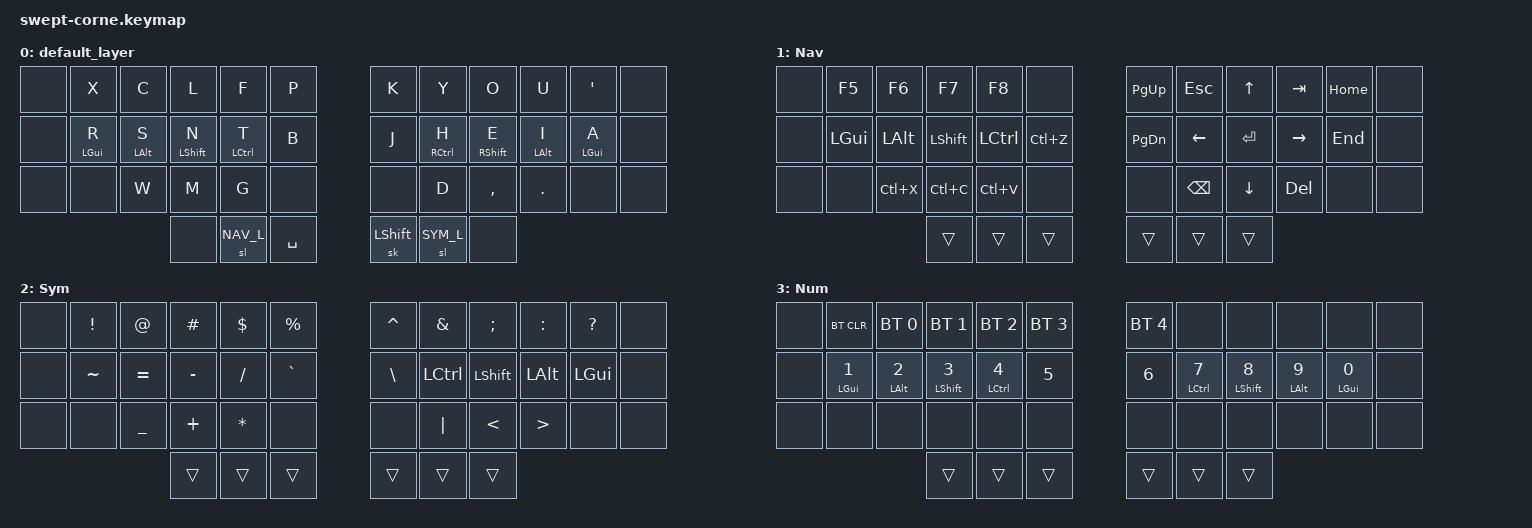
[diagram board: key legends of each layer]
/*
 * Copyright (c) 2020 The ZMK Contributors
 *
 * SPDX-License-Identifier: MIT
 */

#include <behaviors.dtsi>
#include <dt-bindings/zmk/keys.h>
#include <dt-bindings/zmk/bt.h>

/* Layers */
#define DEF_L 0
#define NAV_L 1
#define SYM_L 2
#define NUM_L 3

/* Shortcuts */
#define CUT LC(X)
#define COPY LC(C)
#define PASTE LC(V)
#define UNDO LC(Z)
#define SALL LC(A)

/* Key position groups */
#define KEYS_L 0 1 2 3 4 5 12 13 14 15 16 17 24 25 26 27 28 29
#define KEYS_R 6 7 8 9 10 11 18 19 20 21 22 23 30 31 32 33 34 35
#define THUMBS 36 37 38 39 40 41

/* Behavior Settings */
&sk {
  release-after-ms = <250>;
  quick-release;
};

&sl {
  release-after-ms = <250>;
};

/ {
    behaviors {
        mtl: mod_tap_left {
            compatible = "zmk,behavior-hold-tap";
            label = "MOD_TAP_LEFT";
            #binding-cells = <2>;
            flavor = "balanced";
            tapping-term-ms = <280>;
            quick-tap-ms = <175>;
            bindings = <&kp>, <&kp>;
            hold-trigger-key-positions = <KEYS_R THUMBS>;
	    hold-trigger-on-release;
        };
        mtr: mod_tap_right {
            compatible = "zmk,behavior-hold-tap";
            label = "MOD_TAP_RIGHT";
            #binding-cells = <2>;
            flavor = "balanced";
            tapping-term-ms = <280>;
            quick-tap-ms = <175>;
            bindings = <&kp>, <&kp>;
            hold-trigger-key-positions = <KEYS_L THUMBS>;
	    hold-trigger-on-release;
        };
    };
    conditional_layers {
        compatible = "zmk,conditional-layers";
        tri_layer {
            if-layers = <NAV_L SYM_L>;
            then-layer = <NUM_L>;
        };
    };
    combos {
        compatible = "zmk,combos";

	/*
	   0   1   2   3   4   5      6   7   8   9  10  11
	  12  13  14  15  16  17     18  19  20  21  22  23
	  24  25  26  27  28  29     30  31  32  33  34  35
		      36  37  38     39  40  41
	*/

        /* Letters */
        v { key-positions = <2 3>; bindings = <&kp V>; layers = <DEF_L>; };
        q { key-positions = <3 4>; bindings = <&kp Q>; layers = <DEF_L>; };
        z { key-positions = <26 27>; bindings = <&kp Z>; layers = <DEF_L>; };

        /* Brackets */
        lbkt { key-positions = <2 14>; bindings = <&kp LBKT>; layers = <DEF_L SYM_L NUM_L>; };
        rbkt { key-positions = <9 21>; bindings = <&kp RBKT>; layers = <DEF_L SYM_L NUM_L>; };
        lbrc { key-positions = <3 15>; bindings = <&kp LBRC>; layers = <DEF_L SYM_L NUM_L>; };
        rbrc { key-positions = <8 20>; bindings = <&kp RBRC>; layers = <DEF_L SYM_L NUM_L>; };
        lpar { key-positions = <4 16>; bindings = <&kp LPAR>; layers = <DEF_L SYM_L NUM_L>; };
        rpar { key-positions = <7 19>; bindings = <&kp RPAR>; layers = <DEF_L SYM_L NUM_L>; };

        /* Convenience */
        del { key-positions = <5 17>; bindings = <&kp DEL>; };
        esc { key-positions = <6 18>; bindings = <&kp ESC>; };
        slall { key-positions = <26 27>; bindings = <&kp SALL>; layers = <NAV_L>; };
        tab { key-positions = <14 15 16>; bindings = <&kp TAB>; };
        enter { key-positions = <19 20 21>; bindings = <&kp ENTER>; };
        bspc { key-positions = <8 9>; bindings = <&kp BSPC>; };

    };
    keymap {
        compatible = "zmk,keymap";

        default_layer {

            bindings = <
//╭─────────┬─────────────┬─────────────┬─────────────┬─────────────┬─────────────╮ ╭─────────────┬─────────────┬─────────────┬─────────────┬─────────────┬─────────╮
    &none     &kp X         &kp C         &kp L         &kp F         &kp P           &kp K         &kp Y         &kp O         &kp U         &kp QUOT      &none
//├─────────┼─────────────┼─────────────┼─────────────┼─────────────┼─────────────┤ ├─────────────┼─────────────┼─────────────┼─────────────┼─────────────┼─────────┤
    &none     &mtl LGUI R   &mtl LALT S   &mtl LSHFT N  &mtl LCTRL T  &kp B           &kp J         &mtr RCTRL H  &mtr RSHFT E  &mtr LALT I   &mtr LGUI A   &none
//├─────────┼─────────────┼─────────────┼─────────────┼─────────────┼─────────────┤ ├─────────────┼─────────────┼─────────────┼─────────────┼─────────────┼─────────┤
    &none     &none         &kp W         &kp M         &kp G         &none           &none         &kp D         &kp COMMA     &kp DOT       &none         &none
//╰─────────┴─────────────┴─────────────┼─────────────┼─────────────┼─────────────┤ ├─────────────┼─────────────┼─────────────┼─────────────┴─────────────┴─────────╯
                                          &none         &sl NAV_L     &kp SPACE       &sk LSHFT     &sl SYM_L     &none
//                                      ╰─────────────┴─────────────┴─────────────╯ ╰─────────────┴─────────────┴─────────────╯
            >;
        };

        nav_layer {
	    label = "Nav";
            bindings = <
//╭─────────┬─────────────┬─────────────┬─────────────┬─────────────┬─────────────╮ ╭─────────────┬─────────────┬─────────────┬─────────────┬─────────────┬─────────╮
    &none     &kp F5        &kp F6        &kp F7        &kp F8        &none           &kp PG_UP     &kp ESC       &kp UP        &kp TAB       &kp HOME      &none
//├─────────┼─────────────┼─────────────┼─────────────┼─────────────┼─────────────┤ ├─────────────┼─────────────┼─────────────┼─────────────┼─────────────┼─────────┤
    &none     &kp LGUI      &kp LALT      &kp LSHFT     &kp LCTL      &kp UNDO        &kp PG_DN     &kp LEFT      &kp ENTER     &kp RIGHT     &kp END       &none
//├─────────┼─────────────┼─────────────┼─────────────┼─────────────┼─────────────┤ ├─────────────┼─────────────┼─────────────┼─────────────┼─────────────┼─────────┤
    &none     &none         &kp CUT       &kp COPY      &kp PASTE     &none           &none         &kp BSPC      &kp DOWN      &kp DEL       &none         &none
//╰─────────┴─────────────┴─────────────┼─────────────┼─────────────┼─────────────┤ ├─────────────┼─────────────┼─────────────┼─────────────┴─────────────┴─────────╯
                                          &trans        &trans        &trans          &trans        &trans        &trans
//                                      ╰─────────────┴─────────────┴─────────────╯ ╰─────────────┴─────────────┴─────────────╯
            >;
        };

        sym_layer {
            label = "Sym";
            bindings = <
//╭─────────┬─────────────┬─────────────┬─────────────┬─────────────┬─────────────╮ ╭─────────────┬─────────────┬─────────────┬─────────────┬─────────────┬─────────╮
    &none     &kp EXCL      &kp AT        &kp HASH      &kp DLLR      &kp PRCNT       &kp CARET     &kp AMPS      &kp SEMI      &kp COLON     &kp QMARK     &none
//├─────────┼─────────────┼─────────────┼─────────────┼─────────────┼─────────────┤ ├─────────────┼─────────────┼─────────────┼─────────────┼─────────────┼─────────┤
    &none     &kp TILDE     &kp EQUAL     &kp MINUS     &kp FSLH      &kp GRAVE       &kp BSLH      &kp LCTRL     &kp LSHFT     &kp LALT      &kp LGUI      &none
//├─────────┼─────────────┼─────────────┼─────────────┼─────────────┼─────────────┤ ├─────────────┼─────────────┼─────────────┼─────────────┼─────────────┼─────────┤
    &none     &none         &kp UNDER     &kp PLUS      &kp ASTRK     &none           &none         &kp PIPE      &kp LT        &kp GT        &none         &none
//╰─────────┴─────────────┴─────────────┼─────────────┼─────────────┼─────────────┤ ├─────────────┼─────────────┼─────────────┼─────────────┴─────────────┴─────────╯
                                          &trans        &trans        &trans          &trans        &trans        &trans
//                                      ╰─────────────┴─────────────┴─────────────╯ ╰─────────────┴─────────────┴─────────────╯
            >;
        };

        num {
            label = "Num";
            bindings = <
//╭────────────┬─────────────┬─────────────┬─────────────┬─────────────┬─────────────╮ ╭─────────────┬─────────────┬─────────────┬─────────────┬─────────────┬─────────╮
    &none        &bt BT_CLR    &bt BT_SEL 0  &bt BT_SEL 1  &bt BT_SEL 2  &bt BT_SEL 3    &bt BT_SEL 4  &none         &none         &none         &none         &none
//├────────────┼─────────────┼─────────────┼─────────────┼─────────────┼─────────────┤ ├─────────────┼─────────────┼─────────────┼─────────────┼─────────────┼─────────┤
    &none        &mtl LGUI N1  &mtl LALT N2  &mtl LSHFT N3 &mtl LCTRL N4 &kp N5          &kp N6        &mtr LCTRL N7 &mtr LSHFT N8 &mtr LALT N9  &mtr LGUI N0  &none
//├────────────┼─────────────┼─────────────┼─────────────┼─────────────┼─────────────┤ ├─────────────┼─────────────┼─────────────┼─────────────┼─────────────┼─────────┤
    &none        &none         &none         &none         &none         &none           &none         &none         &none         &none         &none         &none
//╰────────────┴─────────────┴─────────────┼─────────────┼─────────────┼─────────────┤ ├─────────────┼─────────────┼─────────────┼─────────────┴─────────────┴─────────╯
                                             &trans        &trans        &trans          &trans        &trans        &trans
//                                         ╰─────────────┴─────────────┴─────────────╯ ╰─────────────┴─────────────┴─────────────╯
            >;
        };
    };
};
//╭─────────┬─────────────┬─────────────┬─────────────┬─────────────┬─────────────╮ ╭─────────────┬─────────────┬─────────────┬─────────────┬─────────────┬─────────╮
//├─────────┼─────────────┼─────────────┼─────────────┼─────────────┼─────────────┤ ├─────────────┼─────────────┼─────────────┼─────────────┼─────────────┼─────────┤
//├─────────┼─────────────┼─────────────┼─────────────┼─────────────┼─────────────┤ ├─────────────┼─────────────┼─────────────┼─────────────┼─────────────┼─────────┤
//╰─────────┴─────────────┴─────────────┼─────────────┼─────────────┼─────────────┤ ├─────────────┼─────────────┼─────────────┼─────────────┴─────────────┴─────────╯
//                                      ╰─────────────┴─────────────┴─────────────╯ ╰─────────────┴─────────────┴─────────────╯
